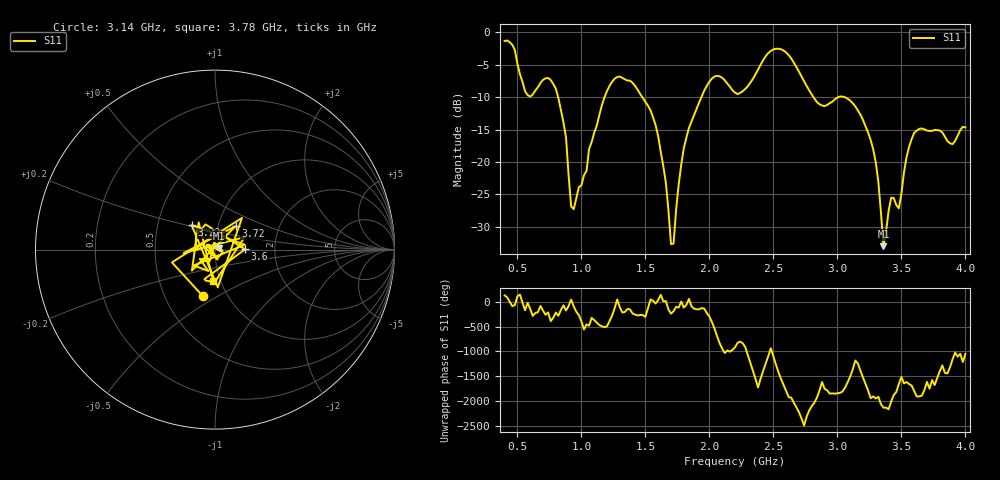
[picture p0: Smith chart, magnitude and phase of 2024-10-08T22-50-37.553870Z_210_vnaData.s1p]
! Created with skrf (http://scikit-rf.org).
# Hz S RI R 50.0
!freq ReS11 ImS11
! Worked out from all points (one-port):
!   181 points, 400 MHz to 4 GHz, reference 50 ohm
!   lowest |S11| = -33.0 dB at 3.36 GHz (marker M1), VSWR 1.05, Z = 52.1 + j1.01 ohm
!   |S11| at or under -10 dB: 818.3 MHz to 1.18 GHz (362.1 MHz wide, 36.2 % of centre); 1.476 GHz to 1.938 GHz (462 MHz wide, 27.1 % of centre); 3.058 GHz to end of sweep (the widest 3 of 4)
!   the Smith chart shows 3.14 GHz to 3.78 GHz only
!   S11 on the Smith chart (normalised r, x): 3.14 GHz: 0.77, -0.43; 3.22 GHz: 0.74, +0.21; 3.6 GHz: 1.40, +0.00; 3.72 GHz: 1.21, +0.33; 3.78 GHz: 0.92, -0.34
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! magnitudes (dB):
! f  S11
! 400 MHz  -1.3
! 580 MHz  -9.7
! 760 MHz  -7.4
! 860 MHz  -13.9
! 940 MHz  -27.3
! 1.18 GHz  -10.0
! 1.3 GHz  -6.8
! 1.58 GHz  -14.3
! 1.66 GHz  -23.2
! 1.7 GHz  -32.7
! 1.76 GHz  -23.5
! 1.98 GHz  -8.2
! 2.2 GHz  -9.3
! 2.5 GHz  -2.6
! 2.66 GHz  -4.7
! 2.86 GHz  -11.1
! 3.1 GHz  -10.5
! 3.14 GHz  -11.4
! 3.22 GHz  -14.5
! 3.3 GHz  -20.1
! 3.36 GHz  -33.0
! 3.42 GHz  -25.5
! 3.48 GHz  -27.1
! 3.56 GHz  -17.7
! 3.6 GHz  -15.5
! 3.72 GHz  -15.2
! 3.78 GHz  -15.1
! 4 GHz  -14.7
